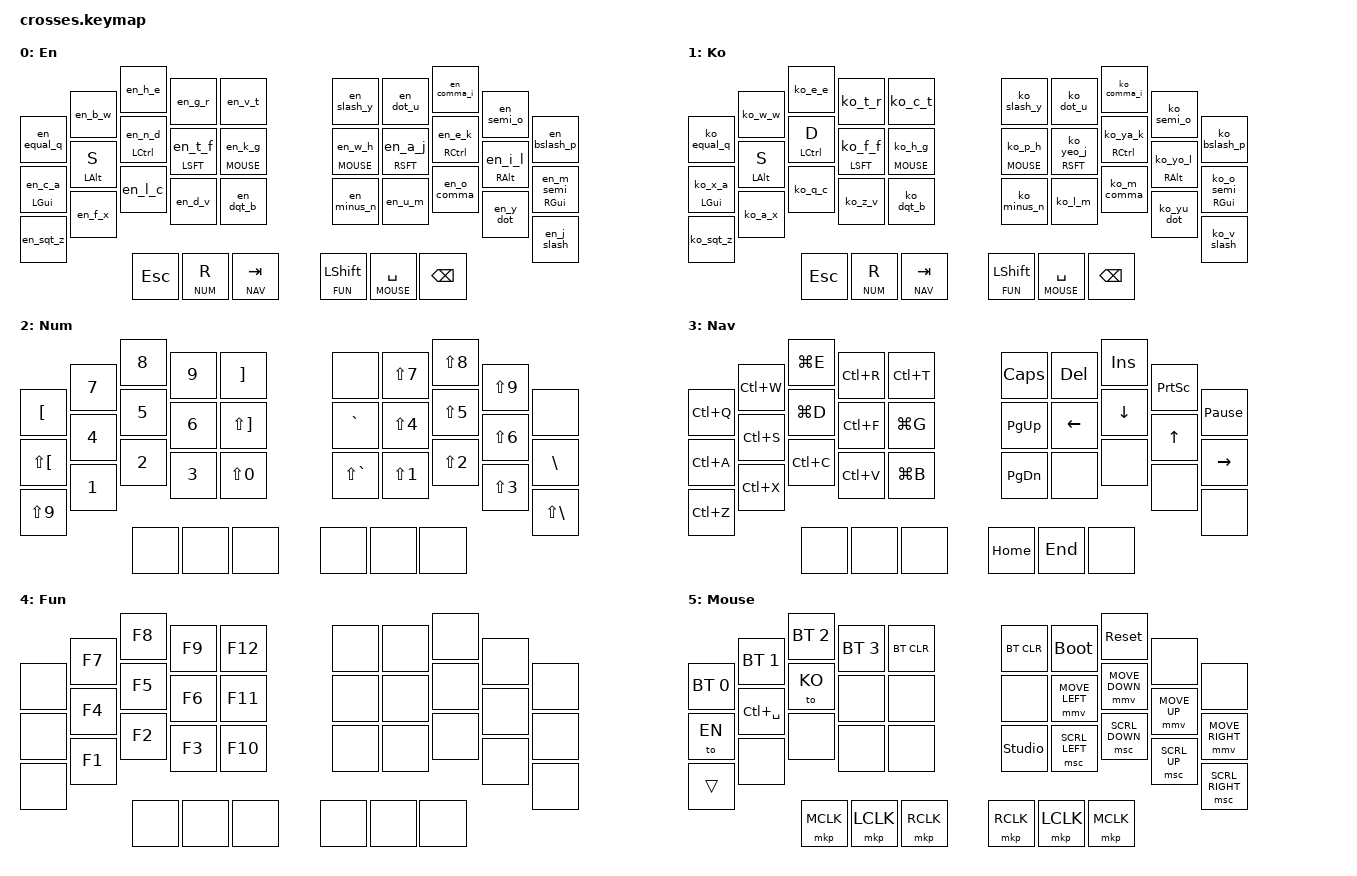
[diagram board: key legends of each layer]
#include <behaviors.dtsi>
#include <dt-bindings/zmk/bt.h>
#include <dt-bindings/zmk/keys.h>
#include <dt-bindings/zmk/modifiers.h>
#include <dt-bindings/zmk/pointing.h>

#define EN 0
#define KO 1
#define NUM 2
#define NAV 3
#define FUN 4
#define MOUSE 5

#define SHORTCUT_MODS (MOD_LCTL|MOD_RCTL|MOD_LALT|MOD_RALT|MOD_LGUI|MOD_RGUI)

&lt {
    tapping-term-ms = <150>;
    flavor = "balanced";
    quick-tap-ms = <150>;
};

&mt {
    tapping-term-ms = <150>;
    flavor = "balanced";
    quick-tap-ms = <150>;
};

&trackball_peripheral_split {
    input-processors
        = <&zip_xy_to_scroll_mapper>
        , <&zip_scroll_scaler 1 6>
        ;
};

/ {
    chosen { zmk,physical-layout = &gggw_crosses_36_layout; };

    behaviors {
        td_r1: td_r1 {
            compatible = "zmk,behavior-hold-tap";
            label = "TD_R1";
            #binding-cells = <2>;
            tapping-term-ms = <200>;
            flavor = "balanced";
            bindings = <&mo>, <&sk>;
        };

        ko_kp: ko_kp {
            compatible = "zmk,behavior-key-press";
            label = "KO_KEY_PRESS";
            #binding-cells = <1>;
        };

        ko_mt: ko_mt {
            compatible = "zmk,behavior-hold-tap";
            label = "KO_MOD_TAP";
            #binding-cells = <2>;
            tapping-term-ms = <150>;
            flavor = "balanced";
            quick-tap-ms = <150>;
            bindings = <&kp>, <&kp>;
        };

        ko_lt: ko_lt {
            compatible = "zmk,behavior-hold-tap";
            label = "KO_LAYER_TAP";
            #binding-cells = <2>;
            tapping-term-ms = <150>;
            flavor = "balanced";
            quick-tap-ms = <150>;
            bindings = <&mo>, <&kp>;
        };

        lang_to_ko: lang_to_ko {
            compatible = "zmk,behavior-macro";
            label = "LANG_TO_KO";
            #binding-cells = <0>;
            wait-ms = <30>;
            tap-ms = <30>;
            bindings = <&macro_tap &kp LC(SPACE)>, <&macro_tap &to KO>;
        };

        lang_to_en: lang_to_en {
            compatible = "zmk,behavior-macro";
            label = "LANG_TO_EN";
            #binding-cells = <0>;
            wait-ms = <30>;
            tap-ms = <30>;
            bindings = <&macro_tap &kp LC(SPACE)>, <&macro_tap &to EN>;
        };

        ko_yeo: ko_yeo {
            compatible = "zmk,behavior-mod-morph";
            label = "KO_YEO";
            #binding-cells = <0>;
            bindings = <&kp J>, <&kp U>;
            mods = <(MOD_LSFT|MOD_RSFT)>;
        };

        ko_ya: ko_ya {
            compatible = "zmk,behavior-mod-morph";
            label = "KO_YA";
            #binding-cells = <0>;
            bindings = <&kp K>, <&kp I>;
            mods = <(MOD_LSFT|MOD_RSFT)>;
        };

        ko_yu: ko_yu {
            compatible = "zmk,behavior-mod-morph";
            label = "KO_YU";
            #binding-cells = <0>;
            bindings = <&kp N>, <&kp B>;
            mods = <(MOD_LSFT|MOD_RSFT)>;
        };

        ko_yo: ko_yo {
            compatible = "zmk,behavior-mod-morph";
            label = "KO_YO";
            #binding-cells = <0>;
            bindings = <&kp H>, <&kp Y>;
            mods = <(MOD_LSFT|MOD_RSFT)>;
        };

        ko_f_c: ko_f_c {
            compatible = "zmk,behavior-mod-morph";
            #binding-cells = <0>;
            bindings = <&kp F>, <&kp C>;
            mods = <(MOD_LSFT|MOD_RSFT)>;
        };

        ko_h_z: ko_h_z {
            compatible = "zmk,behavior-mod-morph";
            #binding-cells = <0>;
            bindings = <&kp G>, <&kp Z>;
            mods = <(MOD_LSFT|MOD_RSFT)>;
        };

        ko_ya_mt: ko_ya_mt {
            compatible = "zmk,behavior-hold-tap";
            label = "KO_YA_MOD_TAP";
            #binding-cells = <2>;
            tapping-term-ms = <150>;
            flavor = "balanced";
            quick-tap-ms = <150>;
            bindings = <&kp>, <&ko_ya_k>;
        };

        ko_yo_mt: ko_yo_mt {
            compatible = "zmk,behavior-hold-tap";
            label = "KO_YO_MOD_TAP";
            #binding-cells = <2>;
            tapping-term-ms = <150>;
            flavor = "balanced";
            quick-tap-ms = <150>;
            bindings = <&kp>, <&ko_yo_l>;
        };

        ko_yeo_mt: ko_yeo_mt {
            compatible = "zmk,behavior-hold-tap";
            label = "KO_YEO_MOD_TAP";
            #binding-cells = <2>;
            tapping-term-ms = <150>;
            flavor = "balanced";
            quick-tap-ms = <150>;
            bindings = <&kp>, <&ko_yeo_j>;
        };

        en_equal_q: en_equal_q {
            compatible = "zmk,behavior-mod-morph";
            #binding-cells = <0>;
            bindings = <&kp EQUAL>, <&kp Q>;
            mods = <SHORTCUT_MODS>;
            keep-mods = <SHORTCUT_MODS>;
        };

        en_b_w: en_b_w {
            compatible = "zmk,behavior-mod-morph";
            #binding-cells = <0>;
            bindings = <&kp B>, <&kp W>;
            mods = <SHORTCUT_MODS>;
            keep-mods = <SHORTCUT_MODS>;
        };

        en_h_e: en_h_e {
            compatible = "zmk,behavior-mod-morph";
            #binding-cells = <0>;
            bindings = <&kp H>, <&kp E>;
            mods = <SHORTCUT_MODS>;
            keep-mods = <SHORTCUT_MODS>;
        };

        en_g_r: en_g_r {
            compatible = "zmk,behavior-mod-morph";
            #binding-cells = <0>;
            bindings = <&kp G>, <&kp R>;
            mods = <SHORTCUT_MODS>;
            keep-mods = <SHORTCUT_MODS>;
        };

        en_v_t: en_v_t {
            compatible = "zmk,behavior-mod-morph";
            #binding-cells = <0>;
            bindings = <&kp V>, <&kp T>;
            mods = <SHORTCUT_MODS>;
            keep-mods = <SHORTCUT_MODS>;
        };

        en_slash_y: en_slash_y {
            compatible = "zmk,behavior-mod-morph";
            #binding-cells = <0>;
            bindings = <&kp SLASH>, <&kp Y>;
            mods = <SHORTCUT_MODS>;
            keep-mods = <SHORTCUT_MODS>;
        };

        en_dot_u: en_dot_u {
            compatible = "zmk,behavior-mod-morph";
            #binding-cells = <0>;
            bindings = <&kp DOT>, <&kp U>;
            mods = <SHORTCUT_MODS>;
            keep-mods = <SHORTCUT_MODS>;
        };

        en_comma_i: en_comma_i {
            compatible = "zmk,behavior-mod-morph";
            #binding-cells = <0>;
            bindings = <&kp COMMA>, <&kp I>;
            mods = <SHORTCUT_MODS>;
            keep-mods = <SHORTCUT_MODS>;
        };

        en_semi_o: en_semi_o {
            compatible = "zmk,behavior-mod-morph";
            #binding-cells = <0>;
            bindings = <&kp SEMICOLON>, <&kp O>;
            mods = <SHORTCUT_MODS>;
            keep-mods = <SHORTCUT_MODS>;
        };

        en_bslash_p: en_bslash_p {
            compatible = "zmk,behavior-mod-morph";
            #binding-cells = <0>;
            bindings = <&kp BACKSLASH>, <&kp P>;
            mods = <SHORTCUT_MODS>;
            keep-mods = <SHORTCUT_MODS>;
        };

        en_c_a: en_c_a {
            compatible = "zmk,behavior-mod-morph";
            #binding-cells = <0>;
            bindings = <&kp C>, <&kp A>;
            mods = <SHORTCUT_MODS>;
            keep-mods = <SHORTCUT_MODS>;
        };

        en_n_d: en_n_d {
            compatible = "zmk,behavior-mod-morph";
            #binding-cells = <0>;
            bindings = <&kp N>, <&kp D>;
            mods = <SHORTCUT_MODS>;
            keep-mods = <SHORTCUT_MODS>;
        };

        en_t_f: en_t_f {
            compatible = "zmk,behavior-mod-morph";
            #binding-cells = <0>;
            bindings = <&kp T>, <&kp F>;
            mods = <SHORTCUT_MODS>;
            keep-mods = <SHORTCUT_MODS>;
        };

        en_k_g: en_k_g {
            compatible = "zmk,behavior-mod-morph";
            #binding-cells = <0>;
            bindings = <&kp K>, <&kp G>;
            mods = <SHORTCUT_MODS>;
            keep-mods = <SHORTCUT_MODS>;
        };

        en_w_h: en_w_h {
            compatible = "zmk,behavior-mod-morph";
            #binding-cells = <0>;
            bindings = <&kp W>, <&kp H>;
            mods = <SHORTCUT_MODS>;
            keep-mods = <SHORTCUT_MODS>;
        };

        en_a_j: en_a_j {
            compatible = "zmk,behavior-mod-morph";
            #binding-cells = <0>;
            bindings = <&kp A>, <&kp J>;
            mods = <SHORTCUT_MODS>;
            keep-mods = <SHORTCUT_MODS>;
        };

        en_e_k: en_e_k {
            compatible = "zmk,behavior-mod-morph";
            #binding-cells = <0>;
            bindings = <&kp E>, <&kp K>;
            mods = <SHORTCUT_MODS>;
            keep-mods = <SHORTCUT_MODS>;
        };

        en_i_l: en_i_l {
            compatible = "zmk,behavior-mod-morph";
            #binding-cells = <0>;
            bindings = <&kp I>, <&kp L>;
            mods = <SHORTCUT_MODS>;
            keep-mods = <SHORTCUT_MODS>;
        };

        en_m_semi: en_m_semi {
            compatible = "zmk,behavior-mod-morph";
            #binding-cells = <0>;
            bindings = <&kp M>, <&kp SEMICOLON>;
            mods = <SHORTCUT_MODS>;
            keep-mods = <SHORTCUT_MODS>;
        };

        en_sqt_z: en_sqt_z {
            compatible = "zmk,behavior-mod-morph";
            #binding-cells = <0>;
            bindings = <&kp SQT>, <&kp Z>;
            mods = <SHORTCUT_MODS>;
            keep-mods = <SHORTCUT_MODS>;
        };

        en_f_x: en_f_x {
            compatible = "zmk,behavior-mod-morph";
            #binding-cells = <0>;
            bindings = <&kp F>, <&kp X>;
            mods = <SHORTCUT_MODS>;
            keep-mods = <SHORTCUT_MODS>;
        };

        en_l_c: en_l_c {
            compatible = "zmk,behavior-mod-morph";
            #binding-cells = <0>;
            bindings = <&kp L>, <&kp C>;
            mods = <SHORTCUT_MODS>;
            keep-mods = <SHORTCUT_MODS>;
        };

        en_d_v: en_d_v {
            compatible = "zmk,behavior-mod-morph";
            #binding-cells = <0>;
            bindings = <&kp D>, <&kp V>;
            mods = <SHORTCUT_MODS>;
            keep-mods = <SHORTCUT_MODS>;
        };

        en_dqt_b: en_dqt_b {
            compatible = "zmk,behavior-mod-morph";
            #binding-cells = <0>;
            bindings = <&kp LS(SQT)>, <&kp B>;
            mods = <SHORTCUT_MODS>;
            keep-mods = <SHORTCUT_MODS>;
        };

        en_minus_n: en_minus_n {
            compatible = "zmk,behavior-mod-morph";
            #binding-cells = <0>;
            bindings = <&kp MINUS>, <&kp N>;
            mods = <SHORTCUT_MODS>;
            keep-mods = <SHORTCUT_MODS>;
        };

        en_u_m: en_u_m {
            compatible = "zmk,behavior-mod-morph";
            #binding-cells = <0>;
            bindings = <&kp U>, <&kp M>;
            mods = <SHORTCUT_MODS>;
            keep-mods = <SHORTCUT_MODS>;
        };

        en_o_comma: en_o_comma {
            compatible = "zmk,behavior-mod-morph";
            #binding-cells = <0>;
            bindings = <&kp O>, <&kp COMMA>;
            mods = <SHORTCUT_MODS>;
            keep-mods = <SHORTCUT_MODS>;
        };

        en_y_dot: en_y_dot {
            compatible = "zmk,behavior-mod-morph";
            #binding-cells = <0>;
            bindings = <&kp Y>, <&kp DOT>;
            mods = <SHORTCUT_MODS>;
            keep-mods = <SHORTCUT_MODS>;
        };

        en_j_slash: en_j_slash {
            compatible = "zmk,behavior-mod-morph";
            #binding-cells = <0>;
            bindings = <&kp J>, <&kp SLASH>;
            mods = <SHORTCUT_MODS>;
            keep-mods = <SHORTCUT_MODS>;
        };

        en_c_a_mt: en_c_a_mt {
            compatible = "zmk,behavior-hold-tap";
            #binding-cells = <2>;
            tapping-term-ms = <150>;
            flavor = "balanced";
            quick-tap-ms = <150>;
            bindings = <&kp>, <&en_c_a>;
        };

        en_n_d_mt: en_n_d_mt {
            compatible = "zmk,behavior-hold-tap";
            #binding-cells = <2>;
            tapping-term-ms = <150>;
            flavor = "balanced";
            quick-tap-ms = <150>;
            bindings = <&kp>, <&en_n_d>;
        };

        en_t_f_mt: en_t_f_mt {
            compatible = "zmk,behavior-hold-tap";
            #binding-cells = <2>;
            tapping-term-ms = <150>;
            flavor = "balanced";
            quick-tap-ms = <150>;
            bindings = <&kp>, <&en_t_f>;
        };

        en_k_g_lt: en_k_g_lt {
            compatible = "zmk,behavior-hold-tap";
            #binding-cells = <2>;
            tapping-term-ms = <150>;
            flavor = "balanced";
            quick-tap-ms = <150>;
            bindings = <&mo>, <&en_k_g>;
        };

        en_w_h_lt: en_w_h_lt {
            compatible = "zmk,behavior-hold-tap";
            #binding-cells = <2>;
            tapping-term-ms = <150>;
            flavor = "balanced";
            quick-tap-ms = <150>;
            bindings = <&mo>, <&en_w_h>;
        };

        en_a_j_mt: en_a_j_mt {
            compatible = "zmk,behavior-hold-tap";
            #binding-cells = <2>;
            tapping-term-ms = <150>;
            flavor = "balanced";
            quick-tap-ms = <150>;
            bindings = <&kp>, <&en_a_j>;
        };

        en_e_k_mt: en_e_k_mt {
            compatible = "zmk,behavior-hold-tap";
            #binding-cells = <2>;
            tapping-term-ms = <150>;
            flavor = "balanced";
            quick-tap-ms = <150>;
            bindings = <&kp>, <&en_e_k>;
        };

        en_i_l_mt: en_i_l_mt {
            compatible = "zmk,behavior-hold-tap";
            #binding-cells = <2>;
            tapping-term-ms = <150>;
            flavor = "balanced";
            quick-tap-ms = <150>;
            bindings = <&kp>, <&en_i_l>;
        };

        en_m_semi_mt: en_m_semi_mt {
            compatible = "zmk,behavior-hold-tap";
            #binding-cells = <2>;
            tapping-term-ms = <150>;
            flavor = "balanced";
            quick-tap-ms = <150>;
            bindings = <&kp>, <&en_m_semi>;
        };

        ko_equal_q: ko_equal_q {
            compatible = "zmk,behavior-mod-morph";
            #binding-cells = <0>;
            bindings = <&kp EQUAL>, <&kp Q>;
            mods = <SHORTCUT_MODS>;
            keep-mods = <SHORTCUT_MODS>;
        };

        ko_w_w: ko_w_w {
            compatible = "zmk,behavior-mod-morph";
            #binding-cells = <0>;
            bindings = <&kp W>, <&kp W>;
            mods = <SHORTCUT_MODS>;
            keep-mods = <SHORTCUT_MODS>;
        };

        ko_e_e: ko_e_e {
            compatible = "zmk,behavior-mod-morph";
            #binding-cells = <0>;
            bindings = <&kp E>, <&kp E>;
            mods = <SHORTCUT_MODS>;
            keep-mods = <SHORTCUT_MODS>;
        };

        ko_t_r: ko_t_r {
            compatible = "zmk,behavior-mod-morph";
            #binding-cells = <0>;
            bindings = <&kp T>, <&kp R>;
            mods = <SHORTCUT_MODS>;
            keep-mods = <SHORTCUT_MODS>;
        };

        ko_c_t: ko_c_t {
            compatible = "zmk,behavior-mod-morph";
            #binding-cells = <0>;
            bindings = <&kp C>, <&kp T>;
            mods = <SHORTCUT_MODS>;
            keep-mods = <SHORTCUT_MODS>;
        };

        ko_slash_y: ko_slash_y {
            compatible = "zmk,behavior-mod-morph";
            #binding-cells = <0>;
            bindings = <&kp SLASH>, <&kp Y>;
            mods = <SHORTCUT_MODS>;
            keep-mods = <SHORTCUT_MODS>;
        };

        ko_dot_u: ko_dot_u {
            compatible = "zmk,behavior-mod-morph";
            #binding-cells = <0>;
            bindings = <&kp DOT>, <&kp U>;
            mods = <SHORTCUT_MODS>;
            keep-mods = <SHORTCUT_MODS>;
        };

        ko_comma_i: ko_comma_i {
            compatible = "zmk,behavior-mod-morph";
            #binding-cells = <0>;
            bindings = <&kp COMMA>, <&kp I>;
            mods = <SHORTCUT_MODS>;
            keep-mods = <SHORTCUT_MODS>;
        };

        ko_semi_o: ko_semi_o {
            compatible = "zmk,behavior-mod-morph";
            #binding-cells = <0>;
            bindings = <&kp SEMICOLON>, <&kp O>;
            mods = <SHORTCUT_MODS>;
            keep-mods = <SHORTCUT_MODS>;
        };

        ko_bslash_p: ko_bslash_p {
            compatible = "zmk,behavior-mod-morph";
            #binding-cells = <0>;
            bindings = <&kp BACKSLASH>, <&kp P>;
            mods = <SHORTCUT_MODS>;
            keep-mods = <SHORTCUT_MODS>;
        };

        ko_x_a: ko_x_a {
            compatible = "zmk,behavior-mod-morph";
            #binding-cells = <0>;
            bindings = <&kp X>, <&kp A>;
            mods = <SHORTCUT_MODS>;
            keep-mods = <SHORTCUT_MODS>;
        };

        // QWERTY shortcuts take precedence over the Shift-only Korean aliases.
        ko_f_f: ko_f_f {
            compatible = "zmk,behavior-mod-morph";
            #binding-cells = <0>;
            bindings = <&ko_f_c>, <&kp F>;
            mods = <SHORTCUT_MODS>;
            keep-mods = <SHORTCUT_MODS>;
        };

        ko_h_g: ko_h_g {
            compatible = "zmk,behavior-mod-morph";
            #binding-cells = <0>;
            bindings = <&ko_h_z>, <&kp G>;
            mods = <SHORTCUT_MODS>;
            keep-mods = <SHORTCUT_MODS>;
        };

        ko_p_h: ko_p_h {
            compatible = "zmk,behavior-mod-morph";
            #binding-cells = <0>;
            bindings = <&kp P>, <&kp H>;
            mods = <SHORTCUT_MODS>;
            keep-mods = <SHORTCUT_MODS>;
        };

        ko_yeo_j: ko_yeo_j {
            compatible = "zmk,behavior-mod-morph";
            #binding-cells = <0>;
            bindings = <&ko_yeo>, <&kp J>;
            mods = <SHORTCUT_MODS>;
            keep-mods = <SHORTCUT_MODS>;
        };

        ko_ya_k: ko_ya_k {
            compatible = "zmk,behavior-mod-morph";
            #binding-cells = <0>;
            bindings = <&ko_ya>, <&kp K>;
            mods = <SHORTCUT_MODS>;
            keep-mods = <SHORTCUT_MODS>;
        };

        ko_yo_l: ko_yo_l {
            compatible = "zmk,behavior-mod-morph";
            #binding-cells = <0>;
            bindings = <&ko_yo>, <&kp L>;
            mods = <SHORTCUT_MODS>;
            keep-mods = <SHORTCUT_MODS>;
        };

        ko_o_semi: ko_o_semi {
            compatible = "zmk,behavior-mod-morph";
            #binding-cells = <0>;
            bindings = <&kp O>, <&kp SEMICOLON>;
            mods = <SHORTCUT_MODS>;
            keep-mods = <SHORTCUT_MODS>;
        };

        ko_sqt_z: ko_sqt_z {
            compatible = "zmk,behavior-mod-morph";
            #binding-cells = <0>;
            bindings = <&kp SQT>, <&kp Z>;
            mods = <SHORTCUT_MODS>;
            keep-mods = <SHORTCUT_MODS>;
        };

        ko_a_x: ko_a_x {
            compatible = "zmk,behavior-mod-morph";
            #binding-cells = <0>;
            bindings = <&kp A>, <&kp X>;
            mods = <SHORTCUT_MODS>;
            keep-mods = <SHORTCUT_MODS>;
        };

        ko_q_c: ko_q_c {
            compatible = "zmk,behavior-mod-morph";
            #binding-cells = <0>;
            bindings = <&kp Q>, <&kp C>;
            mods = <SHORTCUT_MODS>;
            keep-mods = <SHORTCUT_MODS>;
        };

        ko_z_v: ko_z_v {
            compatible = "zmk,behavior-mod-morph";
            #binding-cells = <0>;
            bindings = <&kp Z>, <&kp V>;
            mods = <SHORTCUT_MODS>;
            keep-mods = <SHORTCUT_MODS>;
        };

        ko_dqt_b: ko_dqt_b {
            compatible = "zmk,behavior-mod-morph";
            #binding-cells = <0>;
            bindings = <&kp LS(SQT)>, <&kp B>;
            mods = <SHORTCUT_MODS>;
            keep-mods = <SHORTCUT_MODS>;
        };

        ko_minus_n: ko_minus_n {
            compatible = "zmk,behavior-mod-morph";
            #binding-cells = <0>;
            bindings = <&kp MINUS>, <&kp N>;
            mods = <SHORTCUT_MODS>;
            keep-mods = <SHORTCUT_MODS>;
        };

        ko_l_m: ko_l_m {
            compatible = "zmk,behavior-mod-morph";
            #binding-cells = <0>;
            bindings = <&kp L>, <&kp M>;
            mods = <SHORTCUT_MODS>;
            keep-mods = <SHORTCUT_MODS>;
        };

        ko_m_comma: ko_m_comma {
            compatible = "zmk,behavior-mod-morph";
            #binding-cells = <0>;
            bindings = <&kp M>, <&kp COMMA>;
            mods = <SHORTCUT_MODS>;
            keep-mods = <SHORTCUT_MODS>;
        };

        ko_yu_dot: ko_yu_dot {
            compatible = "zmk,behavior-mod-morph";
            #binding-cells = <0>;
            bindings = <&ko_yu>, <&kp DOT>;
            mods = <SHORTCUT_MODS>;
            keep-mods = <SHORTCUT_MODS>;
        };

        ko_v_slash: ko_v_slash {
            compatible = "zmk,behavior-mod-morph";
            #binding-cells = <0>;
            bindings = <&kp V>, <&kp SLASH>;
            mods = <SHORTCUT_MODS>;
            keep-mods = <SHORTCUT_MODS>;
        };

        ko_x_a_mt: ko_x_a_mt {
            compatible = "zmk,behavior-hold-tap";
            #binding-cells = <2>;
            tapping-term-ms = <150>;
            flavor = "balanced";
            quick-tap-ms = <150>;
            bindings = <&kp>, <&ko_x_a>;
        };

        ko_f_f_mt: ko_f_f_mt {
            compatible = "zmk,behavior-hold-tap";
            #binding-cells = <2>;
            tapping-term-ms = <150>;
            flavor = "balanced";
            quick-tap-ms = <150>;
            bindings = <&kp>, <&ko_f_f>;
        };

        ko_h_g_lt: ko_h_g_lt {
            compatible = "zmk,behavior-hold-tap";
            #binding-cells = <2>;
            tapping-term-ms = <150>;
            flavor = "balanced";
            quick-tap-ms = <150>;
            bindings = <&mo>, <&ko_h_g>;
        };

        ko_p_h_lt: ko_p_h_lt {
            compatible = "zmk,behavior-hold-tap";
            #binding-cells = <2>;
            tapping-term-ms = <150>;
            flavor = "balanced";
            quick-tap-ms = <150>;
            bindings = <&mo>, <&ko_p_h>;
        };

        ko_o_semi_mt: ko_o_semi_mt {
            compatible = "zmk,behavior-hold-tap";
            #binding-cells = <2>;
            tapping-term-ms = <150>;
            flavor = "balanced";
            quick-tap-ms = <150>;
            bindings = <&kp>, <&ko_o_semi>;
        };
    };

    keymap {
        compatible = "zmk,keymap";

        En {
            bindings = <
&en_equal_q    &en_b_w     &en_h_e     &en_g_r     &en_v_t           &en_slash_y     &en_dot_u      &en_comma_i   &en_semi_o    &en_bslash_p
&en_c_a_mt LGUI 0 &mt LALT S &en_n_d_mt LCTL 0 &en_t_f_mt LSFT 0 &en_k_g_lt MOUSE 0 &en_w_h_lt MOUSE 0 &en_a_j_mt RSFT 0 &en_e_k_mt RCTL 0 &en_i_l_mt RALT 0 &en_m_semi_mt RGUI 0
&en_sqt_z      &en_f_x     &en_l_c     &en_d_v     &en_dqt_b         &en_minus_n     &en_u_m        &en_o_comma   &en_y_dot     &en_j_slash
                           &kp ESCAPE  &lt NUM R    &lt NAV TAB        &td_r1 FUN LEFT_SHIFT &lt MOUSE SPACE &kp BACKSPACE
            >;
        };

        Ko {
            bindings = <
&ko_equal_q       &ko_w_w        &ko_e_e        &ko_t_r        &ko_c_t               &ko_slash_y     &ko_dot_u      &ko_comma_i     &ko_semi_o          &ko_bslash_p
&ko_x_a_mt LGUI 0 &ko_mt LALT S  &ko_mt LCTL D  &ko_f_f_mt LSFT 0 &ko_h_g_lt MOUSE 0 &ko_p_h_lt MOUSE 0 &ko_yeo_mt RSFT 0 &ko_ya_mt RCTL 0 &ko_yo_mt RALT 0 &ko_o_semi_mt RGUI 0
&ko_sqt_z         &ko_a_x        &ko_q_c        &ko_z_v        &ko_dqt_b             &ko_minus_n     &ko_l_m        &ko_m_comma     &ko_yu_dot          &ko_v_slash
                               &kp ESCAPE     &ko_lt NUM R   &lt NAV TAB          &td_r1 FUN LEFT_SHIFT &lt MOUSE SPACE &kp BACKSPACE
            >;
        };

        Num {
            bindings = <
&kp LEFT_BRACKET     &kp NUMBER_7  &kp NUMBER_8  &kp NUMBER_9  &kp RIGHT_BRACKET     &none          &kp LS(N7)     &kp LS(N8)    &kp LS(N9)     &none
&kp LS(LEFT_BRACKET) &kp NUMBER_4  &kp NUMBER_5  &kp NUMBER_6  &kp LS(RIGHT_BRACKET) &kp GRAVE      &kp LS(N4)     &kp LS(N5)    &kp LS(N6)     &kp BACKSLASH
&kp LS(N9)           &kp NUMBER_1  &kp NUMBER_2  &kp NUMBER_3  &kp LS(N0)            &kp LS(GRAVE)  &kp LS(N1)     &kp LS(N2)    &kp LS(N3)     &kp LS(BACKSLASH)
                                  &none         &none         &none                  &none          &none          &none
            >;
        };

        Nav {
            bindings = <
&kp LC(Q)   &kp LC(W)  &kp LG(E)  &kp LC(R)  &kp LC(T)       &kp CAPSLOCK   &kp DELETE      &kp INSERT      &kp PRINTSCREEN  &kp PAUSE_BREAK
&kp LC(A)   &kp LC(S)  &kp LG(D)  &kp LC(F)  &kp LG(G)       &kp PG_UP      &kp LEFT_ARROW  &kp DOWN_ARROW  &kp UP_ARROW     &kp RIGHT_ARROW
&kp LC(Z)   &kp LC(X)  &kp LC(C)  &kp LC(V)  &kp LG(B)       &kp PG_DN      &none           &none           &none            &none
                      &none      &none      &none            &kp HOME       &kp END         &none
            >;
        };

        Fun {
            bindings = <
&none  &kp F7  &kp F8  &kp F9  &kp F12       &none  &none  &none  &none  &none
&none  &kp F4  &kp F5  &kp F6  &kp F11       &none  &none  &none  &none  &none
&none  &kp F1  &kp F2  &kp F3  &kp F10       &none  &none  &none  &none  &none
              &none   &none   &none          &none  &none  &none
            >;
        };

        Mouse {
            bindings = <
&bt BT_SEL 0  &bt BT_SEL 1  &bt BT_SEL 2  &bt BT_SEL 3  &bt BT_CLR      &bt BT_CLR      &bootloader &sys_reset &none       &none
&to EN        &kp LC(SPACE) &to KO        &none         &none           &none           &mmv MOVE_LEFT &mmv MOVE_DOWN &mmv MOVE_UP &mmv MOVE_RIGHT
&trans        &none         &none         &none         &none           &studio_unlock  &msc SCRL_LEFT &msc SCRL_DOWN &msc SCRL_UP &msc SCRL_RIGHT
                            &mkp MCLK     &mkp LCLK     &mkp RCLK       &mkp RCLK       &mkp LCLK  &mkp MCLK
            >;
        };

    };

    combos {
        compatible = "zmk,combos";

        combo_en_snt_enter {
            timeout-ms = <50>;
            key-positions = <11 12 13>;
            layers = <EN>;
            bindings = <&kp ENTER>;
        };

        combo_en_bh_w {
            timeout-ms = <50>;
            key-positions = <1 2>;
            layers = <EN>;
            bindings = <&kp W>;
        };

        combo_en_fl_x {
            timeout-ms = <50>;
            key-positions = <21 22>;
            layers = <EN>;
            bindings = <&kp X>;
        };

        combo_en_ld_p {
            timeout-ms = <50>;
            key-positions = <22 23>;
            layers = <EN>;
            bindings = <&kp P>;
        };

        combo_en_hg_q {
            timeout-ms = <50>;
            key-positions = <2 3>;
            layers = <EN>;
            bindings = <&kp Q>;
        };

        combo_en_cs_z {
            timeout-ms = <50>;
            key-positions = <10 11>;
            layers = <EN>;
            bindings = <&kp Z>;
        };

        combo_ko_left_top_p {
            timeout-ms = <50>;
            key-positions = <1 2>;
            layers = <KO>;
            bindings = <&ko_kp V>;
        };

        combo_en_ko_home_left_click {
            timeout-ms = <50>;
            key-positions = <16 17>;
            layers = <EN KO>;
            bindings = <&mkp LCLK>;
        };

        combo_en_ko_home_right_click {
            timeout-ms = <50>;
            key-positions = <17 18>;
            layers = <EN KO>;
            bindings = <&mkp RCLK>;
        };

        combo_en_ko_bottom_scroll_down {
            timeout-ms = <50>;
            key-positions = <26 27>;
            layers = <EN KO>;
            bindings = <&msc SCRL_DOWN>;
        };

        combo_en_ko_bottom_scroll_up {
            timeout-ms = <50>;
            key-positions = <27 28>;
            layers = <EN KO>;
            bindings = <&msc SCRL_UP>;
        };

        combo_ko_home_enter {
            timeout-ms = <50>;
            key-positions = <11 12 13>;
            layers = <KO>;
            bindings = <&kp ENTER>;
        };

        combo_en_lang_to_ko {
            timeout-ms = <70>;
            key-positions = <30 35>;
            layers = <EN>;
            bindings = <&lang_to_ko>;
        };

        combo_ko_lang_to_en {
            timeout-ms = <70>;
            key-positions = <30 35>;
            layers = <KO>;
            bindings = <&lang_to_en>;
        };

        combo_os_language_toggle {
            timeout-ms = <70>;
            key-positions = <30 34>;
            layers = <EN KO>;
            bindings = <&kp LC(SPACE)>;
        };

        combo_en_layer_to_ko {
            timeout-ms = <70>;
            key-positions = <32 35>;
            layers = <EN>;
            bindings = <&to KO>;
        };

        combo_ko_layer_to_en {
            timeout-ms = <70>;
            key-positions = <32 35>;
            layers = <KO>;
            bindings = <&to EN>;
        };

        combo_num_12_0 {
            timeout-ms = <50>;
            key-positions = <21 22>;
            layers = <NUM>;
            bindings = <&kp NUMBER_0>;
        };

        combo_num_23_dot {
            timeout-ms = <50>;
            key-positions = <22 23>;
            layers = <NUM>;
            bindings = <&kp DOT>;
        };

        combo_num_45_minus {
            timeout-ms = <50>;
            key-positions = <11 12>;
            layers = <NUM>;
            bindings = <&kp MINUS>;
        };

        combo_num_56_plus {
            timeout-ms = <50>;
            key-positions = <12 13>;
            layers = <NUM>;
            bindings = <&kp LS(EQUAL)>;
        };

        combo_num_78_slash {
            timeout-ms = <50>;
            key-positions = <1 2>;
            layers = <NUM>;
            bindings = <&kp SLASH>;
        };

        combo_num_89_asterisk {
            timeout-ms = <50>;
            key-positions = <2 3>;
            layers = <NUM>;
            bindings = <&kp LS(NUMBER_8)>;
        };
    };
 
};
